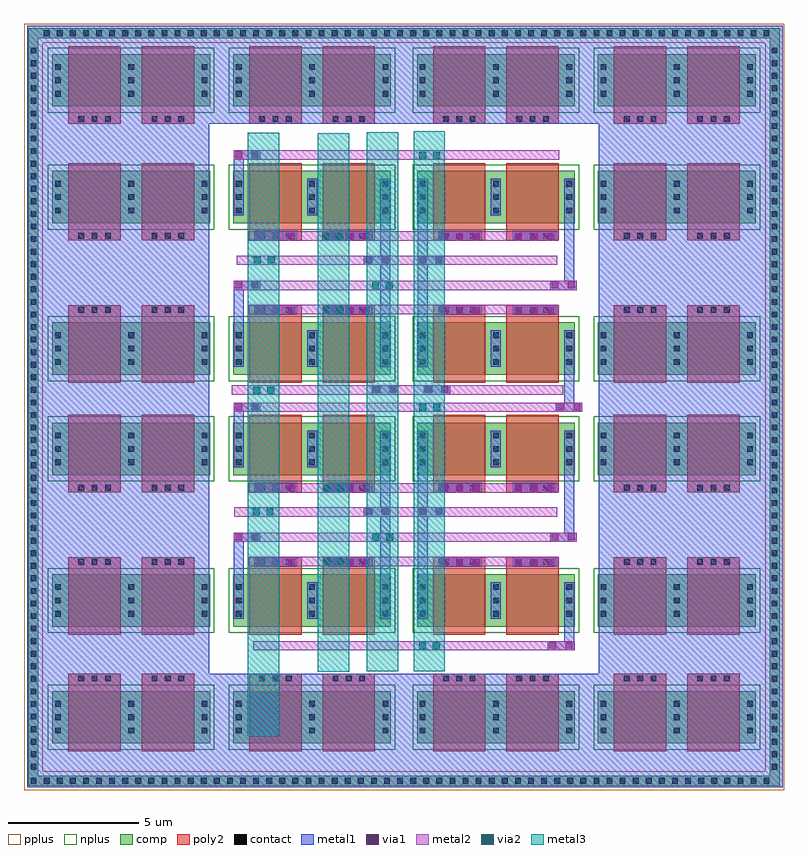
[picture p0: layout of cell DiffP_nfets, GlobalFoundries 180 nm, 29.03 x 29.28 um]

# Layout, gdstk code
import gdstk
lib = gdstk.Library(unit=1e-6, precision=1e-09)
def R(c, l, rs):  # rectangles x0, y0, x1, y1
    for r in rs: c.add(gdstk.rectangle(r[:2], r[2:], *l))
def A(c, l, x, y, w, h, nx, ny, dx, dy):  # array of equal rectangles
    R(c, l, [(x+i*dx, y+j*dy, x+i*dx+w, y+j*dy+h) for i in range(nx) for j in range(ny)])
comp = (22, 0)
poly2 = (30, 0)
pplus = (31, 0)
nplus = (32, 0)
contact = (33, 0)
metal1 = (34, 0)
via1 = (35, 0)
metal2 = (36, 0)
via2 = (38, 0)
metal3 = (42, 0)

nfet = lib.new_cell('nfet')
R(nfet, comp, [(-0.42,0,0,2), (0,0,2.38,2), (2.38,0,2.8,2)])
R(nfet, poly2, [(0.19,-0.3,2.19,2.3), (0.19,2.3,2.19,2.66)])
R(nfet, nplus, [(-0.59,-0.24,2.97,2.24)])
A(nfet, contact, -0.32, 0.38, 0.22, 0.22, 1, 3, 0, 0.51)
A(nfet, contact, 2.48, 0.38, 0.22, 0.22, 1, 3, 0, 0.51)
A(nfet, contact, 0.57, 2.37, 0.22, 0.22, 3, 1, 0.51, 0)
R(nfet, metal1, [(-0.4,0.3,-0.02,1.7), (2.4,0.3,2.78,1.7), (0.49,2.29,1.89,2.67)])

diffp_nfets = lib.new_cell('DiffP_nfets')
R(diffp_nfets, comp, [(-8.6,-2.305,20.09,-1.925), (-8.6,-1.925,-8.22,26.635), (19.71,-1.925,20.09,26.635), (-8.6,26.255,20.09,26.635)])
R(diffp_nfets, pplus, [(-8.77,-2.475,20.26,-1.755), (-8.77,-2.1,-8.05,26.805), (19.54,-2.1,20.26,26.805), (-8.77,26.085,20.26,26.805)])
A(diffp_nfets, contact, -8.515, -2.225, 0.22, 0.22, 57, 1, 0.5, 0)
A(diffp_nfets, contact, -8.52, -1.69, 0.22, 0.22, 1, 58, 0, 0.48)
A(diffp_nfets, contact, 19.79, -1.69, 0.22, 0.22, 1, 58, 0, 0.48)
A(diffp_nfets, contact, -8.015, 26.335, 0.22, 0.22, 56, 1, 0.5, 0)
R(diffp_nfets, contact, [(-8.52,25.67,-8.3,25.89)])
R(diffp_nfets, metal1, [(-8.64,-2.36,-1.685,26.725), (-2.08,-2.36,20.22,1.985), (13.175,-0.385,20.22,25.345), (11.235,2.87,12.245,3.225), (11.235,2.87,12.245,3.225), (11.235,2.87,12.245,3.225), (11.865,2.88,12.245,4.84), (4.845,5.35,5.225,8.045), (6.265,5.35,6.645,8.045), (-0.755,5.395,-0.375,7.35), (0.025,6.065,1.675,6.445), (2.875,6.065,4.525,6.445), (7.065,6.065,8.715,6.445), (9.905,6.065,11.555,6.445), (-0.755,7.01,0.255,7.365), (-0.755,7.01,0.255,7.365), (-0.755,7.01,0.255,7.365), (11.325,7.01,12.335,7.365), (11.325,7.01,12.335,7.365), (11.325,7.01,12.335,7.365), (11.865,7.01,12.245,10.65), (4.215,7.975,5.225,8.33), (4.215,7.975,5.225,8.33), (4.215,7.975,5.225,8.33), (4.215,7.975,5.225,8.33), (4.215,7.975,5.225,8.33), (4.215,7.975,5.225,8.33), (4.845,7.975,5.225,10.095), (6.265,7.975,6.645,10.095), (6.275,7.975,7.285,8.33), (6.275,7.975,7.285,8.33), (6.275,7.975,7.285,8.33), (6.275,7.975,7.285,8.33), (6.275,7.975,7.285,8.33), (6.275,7.975,7.285,8.33), (0.025,8.895,1.675,9.275), (2.875,8.895,4.525,9.275), (7.065,8.895,8.715,9.275), (9.905,8.895,11.555,9.275), (-0.755,11.26,-0.375,12.245), (-0.755,11.98,0.255,12.335), (-0.755,11.98,0.255,12.335), (-0.755,11.98,0.255,12.335), (11.545,11.98,12.555,12.335), (11.545,11.98,12.555,12.335), (11.545,11.98,12.555,12.335), (11.865,12.025,12.245,14.08), (4.515,12.64,5.525,12.995), (4.515,12.64,5.525,12.995), (4.515,12.64,5.525,12.995), (6.495,12.64,7.505,12.995), (6.495,12.64,7.505,12.995), (6.495,12.64,7.505,12.995), (4.845,14.97,5.225,17.665), (6.265,14.97,6.645,17.665), (-0.755,15.015,-0.375,16.97), (0.025,15.685,1.675,16.065), (2.875,15.685,4.525,16.065), (7.065,15.685,8.715,16.065), (9.905,15.685,11.555,16.065), (-0.755,16.63,0.255,16.985), (-0.755,16.63,0.255,16.985), (-0.755,16.63,0.255,16.985), (11.325,16.63,12.335,16.985), (11.325,16.63,12.335,16.985), (11.325,16.63,12.335,16.985), (11.865,16.63,12.245,20.27), (4.215,17.595,5.225,17.95), (4.215,17.595,5.225,17.95), (4.215,17.595,5.225,17.95), (4.215,17.595,5.225,17.95), (4.215,17.595,5.225,17.95), (4.215,17.595,5.225,17.95), (4.845,17.595,5.225,19.715), (6.265,17.595,6.645,19.715), (6.275,17.595,7.285,17.95), (6.275,17.595,7.285,17.95), (6.275,17.595,7.285,17.95), (6.275,17.595,7.285,17.95), (6.275,17.595,7.285,17.95), (6.275,17.595,7.285,17.95), (0.025,18.515,1.675,18.895), (2.875,18.515,4.525,18.895), (7.065,18.515,8.715,18.895), (9.905,18.515,11.555,18.895), (-0.755,20.845,-0.375,21.705), (-0.755,21.61,0.255,21.965), (-0.755,21.61,0.255,21.965), (-0.755,21.61,0.255,21.965), (-2.08,22.975,20.22,26.725)])
R(diffp_nfets, via1, [(11.295,2.935,11.555,3.195), (11.295,2.935,11.555,3.195), (11.915,2.935,12.175,3.195), (11.915,2.935,12.175,3.195), (0.095,6.115,0.355,6.375), (0.095,6.115,0.355,6.375), (0.095,6.115,0.355,6.375), (0.095,6.115,0.355,6.375), (0.095,6.115,0.355,6.375), (0.095,6.115,0.355,6.375), (0.095,6.115,0.355,6.375), (0.095,6.115,0.355,6.375), (0.715,6.115,0.975,6.375), (0.715,6.115,0.975,6.375), (0.715,6.115,0.975,6.375), (0.715,6.115,0.975,6.375), (0.715,6.115,0.975,6.375), (0.715,6.115,0.975,6.375), (0.715,6.115,0.975,6.375), (0.715,6.115,0.975,6.375), (1.335,6.115,1.595,6.375), (1.335,6.115,1.595,6.375), (1.335,6.115,1.595,6.375), (1.335,6.115,1.595,6.375), (1.335,6.115,1.595,6.375), (1.335,6.115,1.595,6.375), (1.335,6.115,1.595,6.375), (1.335,6.115,1.595,6.375), (2.945,6.115,3.205,6.375), (2.945,6.115,3.205,6.375), (2.945,6.115,3.205,6.375), (2.945,6.115,3.205,6.375), (2.945,6.115,3.205,6.375), (2.945,6.115,3.205,6.375), (2.945,6.115,3.205,6.375), (2.945,6.115,3.205,6.375), (3.565,6.115,3.825,6.375), (3.565,6.115,3.825,6.375), (3.565,6.115,3.825,6.375), (3.565,6.115,3.825,6.375), (3.565,6.115,3.825,6.375), (3.565,6.115,3.825,6.375), (3.565,6.115,3.825,6.375), (3.565,6.115,3.825,6.375), (4.185,6.115,4.445,6.375), (4.185,6.115,4.445,6.375), (4.185,6.115,4.445,6.375), (4.185,6.115,4.445,6.375), (4.185,6.115,4.445,6.375), (4.185,6.115,4.445,6.375), (4.185,6.115,4.445,6.375), (4.185,6.115,4.445,6.375), (7.135,6.115,7.395,6.375), (7.135,6.115,7.395,6.375), (7.135,6.115,7.395,6.375), (7.135,6.115,7.395,6.375), (7.135,6.115,7.395,6.375), (7.135,6.115,7.395,6.375), (7.135,6.115,7.395,6.375), (7.135,6.115,7.395,6.375), (7.755,6.115,8.015,6.375), (7.755,6.115,8.015,6.375), (7.755,6.115,8.015,6.375), (7.755,6.115,8.015,6.375), (7.755,6.115,8.015,6.375), (7.755,6.115,8.015,6.375), (7.755,6.115,8.015,6.375), (7.755,6.115,8.015,6.375), (8.375,6.115,8.635,6.375), (8.375,6.115,8.635,6.375), (8.375,6.115,8.635,6.375), (8.375,6.115,8.635,6.375), (8.375,6.115,8.635,6.375), (8.375,6.115,8.635,6.375), (8.375,6.115,8.635,6.375), (8.375,6.115,8.635,6.375), (9.975,6.115,10.235,6.375), (9.975,6.115,10.235,6.375), (9.975,6.115,10.235,6.375), (9.975,6.115,10.235,6.375), (9.975,6.115,10.235,6.375), (9.975,6.115,10.235,6.375), (9.975,6.115,10.235,6.375), (9.975,6.115,10.235,6.375), (10.595,6.115,10.855,6.375), (10.595,6.115,10.855,6.375), (10.595,6.115,10.855,6.375), (10.595,6.115,10.855,6.375), (10.595,6.115,10.855,6.375), (10.595,6.115,10.855,6.375), (10.595,6.115,10.855,6.375), (10.595,6.115,10.855,6.375), (11.215,6.115,11.475,6.375), (11.215,6.115,11.475,6.375), (11.215,6.115,11.475,6.375), (11.215,6.115,11.475,6.375), (11.215,6.115,11.475,6.375), (11.215,6.115,11.475,6.375), (11.215,6.115,11.475,6.375), (11.215,6.115,11.475,6.375), (-0.695,7.075,-0.435,7.335), (-0.695,7.075,-0.435,7.335), (-0.075,7.075,0.185,7.335), (-0.075,7.075,0.185,7.335), (11.385,7.075,11.645,7.335), (11.385,7.075,11.645,7.335), (12.005,7.075,12.265,7.335), (12.005,7.075,12.265,7.335), (4.275,8.04,4.535,8.3), (4.275,8.04,4.535,8.3), (4.275,8.04,4.535,8.3), (4.275,8.04,4.535,8.3), (4.895,8.04,5.155,8.3), (4.895,8.04,5.155,8.3), (4.895,8.04,5.155,8.3), (4.895,8.04,5.155,8.3), (6.335,8.04,6.595,8.3), (6.335,8.04,6.595,8.3), (6.335,8.04,6.595,8.3), (6.335,8.04,6.595,8.3), (6.955,8.04,7.215,8.3), (6.955,8.04,7.215,8.3), (6.955,8.04,7.215,8.3), (6.955,8.04,7.215,8.3), (0.095,8.945,0.355,9.205), (0.095,8.945,0.355,9.205), (0.095,8.945,0.355,9.205), (0.095,8.945,0.355,9.205), (0.095,8.945,0.355,9.205), (0.095,8.945,0.355,9.205), (0.095,8.945,0.355,9.205), (0.095,8.945,0.355,9.205), (0.715,8.945,0.975,9.205), (0.715,8.945,0.975,9.205), (0.715,8.945,0.975,9.205), (0.715,8.945,0.975,9.205), (0.715,8.945,0.975,9.205), (0.715,8.945,0.975,9.205), (0.715,8.945,0.975,9.205), (0.715,8.945,0.975,9.205), (1.335,8.945,1.595,9.205), (1.335,8.945,1.595,9.205), (1.335,8.945,1.595,9.205), (1.335,8.945,1.595,9.205), (1.335,8.945,1.595,9.205), (1.335,8.945,1.595,9.205), (1.335,8.945,1.595,9.205), (1.335,8.945,1.595,9.205), (2.945,8.945,3.205,9.205), (2.945,8.945,3.205,9.205), (2.945,8.945,3.205,9.205), (2.945,8.945,3.205,9.205), (2.945,8.945,3.205,9.205), (2.945,8.945,3.205,9.205), (2.945,8.945,3.205,9.205), (2.945,8.945,3.205,9.205), (3.565,8.945,3.825,9.205), (3.565,8.945,3.825,9.205), (3.565,8.945,3.825,9.205), (3.565,8.945,3.825,9.205), (3.565,8.945,3.825,9.205), (3.565,8.945,3.825,9.205), (3.565,8.945,3.825,9.205), (3.565,8.945,3.825,9.205), (4.185,8.945,4.445,9.205), (4.185,8.945,4.445,9.205), (4.185,8.945,4.445,9.205), (4.185,8.945,4.445,9.205), (4.185,8.945,4.445,9.205), (4.185,8.945,4.445,9.205), (4.185,8.945,4.445,9.205), (4.185,8.945,4.445,9.205), (7.135,8.945,7.395,9.205), (7.135,8.945,7.395,9.205), (7.135,8.945,7.395,9.205), (7.135,8.945,7.395,9.205), (7.135,8.945,7.395,9.205), (7.135,8.945,7.395,9.205), (7.135,8.945,7.395,9.205), (7.135,8.945,7.395,9.205), (7.755,8.945,8.015,9.205), (7.755,8.945,8.015,9.205), (7.755,8.945,8.015,9.205), (7.755,8.945,8.015,9.205), (7.755,8.945,8.015,9.205), (7.755,8.945,8.015,9.205), (7.755,8.945,8.015,9.205), (7.755,8.945,8.015,9.205), (8.375,8.945,8.635,9.205), (8.375,8.945,8.635,9.205), (8.375,8.945,8.635,9.205), (8.375,8.945,8.635,9.205), (8.375,8.945,8.635,9.205), (8.375,8.945,8.635,9.205), (8.375,8.945,8.635,9.205), (8.375,8.945,8.635,9.205), (9.975,8.945,10.235,9.205), (9.975,8.945,10.235,9.205), (9.975,8.945,10.235,9.205), (9.975,8.945,10.235,9.205), (9.975,8.945,10.235,9.205), (9.975,8.945,10.235,9.205), (9.975,8.945,10.235,9.205), (9.975,8.945,10.235,9.205), (10.595,8.945,10.855,9.205), (10.595,8.945,10.855,9.205), (10.595,8.945,10.855,9.205), (10.595,8.945,10.855,9.205), (10.595,8.945,10.855,9.205), (10.595,8.945,10.855,9.205), (10.595,8.945,10.855,9.205), (10.595,8.945,10.855,9.205), (11.215,8.945,11.475,9.205), (11.215,8.945,11.475,9.205), (11.215,8.945,11.475,9.205), (11.215,8.945,11.475,9.205), (11.215,8.945,11.475,9.205), (11.215,8.945,11.475,9.205), (11.215,8.945,11.475,9.205), (11.215,8.945,11.475,9.205), (-0.695,12.045,-0.435,12.305), (-0.695,12.045,-0.435,12.305), (-0.075,12.045,0.185,12.305), (-0.075,12.045,0.185,12.305), (11.605,12.045,11.865,12.305), (11.605,12.045,11.865,12.305), (12.225,12.045,12.485,12.305), (12.225,12.045,12.485,12.305), (4.575,12.705,4.835,12.965), (4.575,12.705,4.835,12.965), (5.195,12.705,5.455,12.965), (5.195,12.705,5.455,12.965), (6.555,12.705,6.815,12.965), (6.555,12.705,6.815,12.965), (7.175,12.705,7.435,12.965), (7.175,12.705,7.435,12.965), (0.095,15.735,0.355,15.995), (0.095,15.735,0.355,15.995), (0.095,15.735,0.355,15.995), (0.095,15.735,0.355,15.995), (0.095,15.735,0.355,15.995), (0.095,15.735,0.355,15.995), (0.095,15.735,0.355,15.995), (0.095,15.735,0.355,15.995), (0.715,15.735,0.975,15.995), (0.715,15.735,0.975,15.995), (0.715,15.735,0.975,15.995), (0.715,15.735,0.975,15.995), (0.715,15.735,0.975,15.995), (0.715,15.735,0.975,15.995), (0.715,15.735,0.975,15.995), (0.715,15.735,0.975,15.995), (1.335,15.735,1.595,15.995), (1.335,15.735,1.595,15.995), (1.335,15.735,1.595,15.995), (1.335,15.735,1.595,15.995), (1.335,15.735,1.595,15.995), (1.335,15.735,1.595,15.995), (1.335,15.735,1.595,15.995), (1.335,15.735,1.595,15.995), (2.945,15.735,3.205,15.995), (2.945,15.735,3.205,15.995), (2.945,15.735,3.205,15.995), (2.945,15.735,3.205,15.995), (2.945,15.735,3.205,15.995), (2.945,15.735,3.205,15.995), (2.945,15.735,3.205,15.995), (2.945,15.735,3.205,15.995), (3.565,15.735,3.825,15.995), (3.565,15.735,3.825,15.995), (3.565,15.735,3.825,15.995), (3.565,15.735,3.825,15.995), (3.565,15.735,3.825,15.995), (3.565,15.735,3.825,15.995), (3.565,15.735,3.825,15.995), (3.565,15.735,3.825,15.995), (4.185,15.735,4.445,15.995), (4.185,15.735,4.445,15.995), (4.185,15.735,4.445,15.995), (4.185,15.735,4.445,15.995), (4.185,15.735,4.445,15.995), (4.185,15.735,4.445,15.995), (4.185,15.735,4.445,15.995), (4.185,15.735,4.445,15.995), (7.135,15.735,7.395,15.995), (7.135,15.735,7.395,15.995), (7.135,15.735,7.395,15.995), (7.135,15.735,7.395,15.995), (7.135,15.735,7.395,15.995), (7.135,15.735,7.395,15.995), (7.135,15.735,7.395,15.995), (7.135,15.735,7.395,15.995), (7.755,15.735,8.015,15.995), (7.755,15.735,8.015,15.995), (7.755,15.735,8.015,15.995), (7.755,15.735,8.015,15.995), (7.755,15.735,8.015,15.995), (7.755,15.735,8.015,15.995), (7.755,15.735,8.015,15.995), (7.755,15.735,8.015,15.995), (8.375,15.735,8.635,15.995), (8.375,15.735,8.635,15.995), (8.375,15.735,8.635,15.995), (8.375,15.735,8.635,15.995), (8.375,15.735,8.635,15.995), (8.375,15.735,8.635,15.995), (8.375,15.735,8.635,15.995), (8.375,15.735,8.635,15.995), (9.975,15.735,10.235,15.995), (9.975,15.735,10.235,15.995), (9.975,15.735,10.235,15.995), (9.975,15.735,10.235,15.995), (9.975,15.735,10.235,15.995), (9.975,15.735,10.235,15.995), (9.975,15.735,10.235,15.995), (9.975,15.735,10.235,15.995), (10.595,15.735,10.855,15.995), (10.595,15.735,10.855,15.995), (10.595,15.735,10.855,15.995), (10.595,15.735,10.855,15.995), (10.595,15.735,10.855,15.995), (10.595,15.735,10.855,15.995), (10.595,15.735,10.855,15.995), (10.595,15.735,10.855,15.995), (11.215,15.735,11.475,15.995), (11.215,15.735,11.475,15.995), (11.215,15.735,11.475,15.995), (11.215,15.735,11.475,15.995), (11.215,15.735,11.475,15.995), (11.215,15.735,11.475,15.995), (11.215,15.735,11.475,15.995), (11.215,15.735,11.475,15.995), (-0.695,16.695,-0.435,16.955), (-0.695,16.695,-0.435,16.955), (-0.075,16.695,0.185,16.955), (-0.075,16.695,0.185,16.955), (11.385,16.695,11.645,16.955), (11.385,16.695,11.645,16.955), (12.005,16.695,12.265,16.955), (12.005,16.695,12.265,16.955), (4.275,17.66,4.535,17.92), (4.275,17.66,4.535,17.92), (4.275,17.66,4.535,17.92), (4.275,17.66,4.535,17.92), (4.895,17.66,5.155,17.92), (4.895,17.66,5.155,17.92), (4.895,17.66,5.155,17.92), (4.895,17.66,5.155,17.92), (6.335,17.66,6.595,17.92), (6.335,17.66,6.595,17.92), (6.335,17.66,6.595,17.92), (6.335,17.66,6.595,17.92), (6.955,17.66,7.215,17.92), (6.955,17.66,7.215,17.92), (6.955,17.66,7.215,17.92), (6.955,17.66,7.215,17.92), (0.095,18.565,0.355,18.825), (0.095,18.565,0.355,18.825), (0.095,18.565,0.355,18.825), (0.095,18.565,0.355,18.825), (0.095,18.565,0.355,18.825), (0.095,18.565,0.355,18.825), (0.095,18.565,0.355,18.825), (0.095,18.565,0.355,18.825), (0.715,18.565,0.975,18.825), (0.715,18.565,0.975,18.825), (0.715,18.565,0.975,18.825), (0.715,18.565,0.975,18.825), (0.715,18.565,0.975,18.825), (0.715,18.565,0.975,18.825), (0.715,18.565,0.975,18.825), (0.715,18.565,0.975,18.825), (1.335,18.565,1.595,18.825), (1.335,18.565,1.595,18.825), (1.335,18.565,1.595,18.825), (1.335,18.565,1.595,18.825), (1.335,18.565,1.595,18.825), (1.335,18.565,1.595,18.825), (1.335,18.565,1.595,18.825), (1.335,18.565,1.595,18.825), (2.945,18.565,3.205,18.825), (2.945,18.565,3.205,18.825), (2.945,18.565,3.205,18.825), (2.945,18.565,3.205,18.825), (2.945,18.565,3.205,18.825), (2.945,18.565,3.205,18.825), (2.945,18.565,3.205,18.825), (2.945,18.565,3.205,18.825), (3.565,18.565,3.825,18.825), (3.565,18.565,3.825,18.825), (3.565,18.565,3.825,18.825), (3.565,18.565,3.825,18.825), (3.565,18.565,3.825,18.825), (3.565,18.565,3.825,18.825), (3.565,18.565,3.825,18.825), (3.565,18.565,3.825,18.825), (4.185,18.565,4.445,18.825), (4.185,18.565,4.445,18.825), (4.185,18.565,4.445,18.825), (4.185,18.565,4.445,18.825), (4.185,18.565,4.445,18.825), (4.185,18.565,4.445,18.825), (4.185,18.565,4.445,18.825), (4.185,18.565,4.445,18.825), (7.135,18.565,7.395,18.825), (7.135,18.565,7.395,18.825), (7.135,18.565,7.395,18.825), (7.135,18.565,7.395,18.825), (7.135,18.565,7.395,18.825), (7.135,18.565,7.395,18.825), (7.135,18.565,7.395,18.825), (7.135,18.565,7.395,18.825), (7.755,18.565,8.015,18.825), (7.755,18.565,8.015,18.825), (7.755,18.565,8.015,18.825), (7.755,18.565,8.015,18.825), (7.755,18.565,8.015,18.825), (7.755,18.565,8.015,18.825), (7.755,18.565,8.015,18.825), (7.755,18.565,8.015,18.825), (8.375,18.565,8.635,18.825), (8.375,18.565,8.635,18.825), (8.375,18.565,8.635,18.825), (8.375,18.565,8.635,18.825), (8.375,18.565,8.635,18.825), (8.375,18.565,8.635,18.825), (8.375,18.565,8.635,18.825), (8.375,18.565,8.635,18.825), (9.975,18.565,10.235,18.825), (9.975,18.565,10.235,18.825), (9.975,18.565,10.235,18.825), (9.975,18.565,10.235,18.825), (9.975,18.565,10.235,18.825), (9.975,18.565,10.235,18.825), (9.975,18.565,10.235,18.825), (9.975,18.565,10.235,18.825), (10.595,18.565,10.855,18.825), (10.595,18.565,10.855,18.825), (10.595,18.565,10.855,18.825), (10.595,18.565,10.855,18.825), (10.595,18.565,10.855,18.825), (10.595,18.565,10.855,18.825), (10.595,18.565,10.855,18.825), (10.595,18.565,10.855,18.825), (11.215,18.565,11.475,18.825), (11.215,18.565,11.475,18.825), (11.215,18.565,11.475,18.825), (11.215,18.565,11.475,18.825), (11.215,18.565,11.475,18.825), (11.215,18.565,11.475,18.825), (11.215,18.565,11.475,18.825), (11.215,18.565,11.475,18.825), (-0.695,21.675,-0.435,21.935), (-0.695,21.675,-0.435,21.935), (-0.075,21.675,0.185,21.935), (-0.075,21.675,0.185,21.935)])
R(diffp_nfets, metal2, [(-0.015,2.87,12.275,3.225), (-0.185,6.09,11.635,6.445), (-0.765,7.01,12.34,7.365), (-0.73,7.975,11.6,8.33), (-0.185,8.895,11.635,9.25), (-0.755,11.98,12.555,12.335), (-0.835,12.64,11.82,12.995), (-0.185,15.71,11.635,16.065), (-0.765,16.63,12.34,16.985), (-0.65,17.595,11.6,17.95), (-0.185,18.515,11.635,18.87), (-0.755,21.61,11.68,21.965)])
R(diffp_nfets, via2, [(6.32,2.915,6.58,3.175), (6.32,2.915,6.58,3.175), (6.32,2.915,6.58,3.175), (6.32,2.915,6.58,3.175), (6.32,2.915,6.58,3.175), (6.32,2.915,6.58,3.175), (6.32,2.915,6.58,3.175), (6.32,2.915,6.58,3.175), (6.85,2.915,7.11,3.175), (6.85,2.915,7.11,3.175), (6.85,2.915,7.11,3.175), (6.85,2.915,7.11,3.175), (6.85,2.915,7.11,3.175), (6.85,2.915,7.11,3.175), (6.85,2.915,7.11,3.175), (6.85,2.915,7.11,3.175), (2.675,6.135,2.935,6.395), (2.675,6.135,2.935,6.395), (2.675,6.135,2.935,6.395), (2.675,6.135,2.935,6.395), (2.675,6.135,2.935,6.395), (2.675,6.135,2.935,6.395), (2.675,6.135,2.935,6.395), (2.675,6.135,2.935,6.395), (3.205,6.135,3.465,6.395), (3.205,6.135,3.465,6.395), (3.205,6.135,3.465,6.395), (3.205,6.135,3.465,6.395), (3.205,6.135,3.465,6.395), (3.205,6.135,3.465,6.395), (3.205,6.135,3.465,6.395), (3.205,6.135,3.465,6.395), (4.535,7.055,4.795,7.315), (4.535,7.055,4.795,7.315), (4.535,7.055,4.795,7.315), (4.535,7.055,4.795,7.315), (4.535,7.055,4.795,7.315), (4.535,7.055,4.795,7.315), (4.535,7.055,4.795,7.315), (4.535,7.055,4.795,7.315), (5.065,7.055,5.325,7.315), (5.065,7.055,5.325,7.315), (5.065,7.055,5.325,7.315), (5.065,7.055,5.325,7.315), (5.065,7.055,5.325,7.315), (5.065,7.055,5.325,7.315), (5.065,7.055,5.325,7.315), (5.065,7.055,5.325,7.315), (-0.03,8.03,0.23,8.29), (-0.03,8.03,0.23,8.29), (-0.03,8.03,0.23,8.29), (-0.03,8.03,0.23,8.29), (-0.03,8.03,0.23,8.29), (-0.03,8.03,0.23,8.29), (-0.03,8.03,0.23,8.29), (-0.03,8.03,0.23,8.29), (0.5,8.03,0.76,8.29), (0.5,8.03,0.76,8.29), (0.5,8.03,0.76,8.29), (0.5,8.03,0.76,8.29), (0.5,8.03,0.76,8.29), (0.5,8.03,0.76,8.29), (0.5,8.03,0.76,8.29), (0.5,8.03,0.76,8.29), (2.665,8.94,2.925,9.2), (2.665,8.94,2.925,9.2), (2.665,8.94,2.925,9.2), (2.665,8.94,2.925,9.2), (2.665,8.94,2.925,9.2), (2.665,8.94,2.925,9.2), (2.665,8.94,2.925,9.2), (2.665,8.94,2.925,9.2), (3.195,8.94,3.455,9.2), (3.195,8.94,3.455,9.2), (3.195,8.94,3.455,9.2), (3.195,8.94,3.455,9.2), (3.195,8.94,3.455,9.2), (3.195,8.94,3.455,9.2), (3.195,8.94,3.455,9.2), (3.195,8.94,3.455,9.2), (6.335,12.02,6.595,12.28), (6.335,12.02,6.595,12.28), (6.335,12.02,6.595,12.28), (6.335,12.02,6.595,12.28), (6.335,12.02,6.595,12.28), (6.335,12.02,6.595,12.28), (6.335,12.02,6.595,12.28), (6.335,12.02,6.595,12.28), (6.865,12.02,7.125,12.28), (6.865,12.02,7.125,12.28), (6.865,12.02,7.125,12.28), (6.865,12.02,7.125,12.28), (6.865,12.02,7.125,12.28), (6.865,12.02,7.125,12.28), (6.865,12.02,7.125,12.28), (6.865,12.02,7.125,12.28), (-0.01,12.675,0.25,12.935), (-0.01,12.675,0.25,12.935), (-0.01,12.675,0.25,12.935), (-0.01,12.675,0.25,12.935), (-0.01,12.675,0.25,12.935), (-0.01,12.675,0.25,12.935), (-0.01,12.675,0.25,12.935), (-0.01,12.675,0.25,12.935), (0.52,12.675,0.78,12.935), (0.52,12.675,0.78,12.935), (0.52,12.675,0.78,12.935), (0.52,12.675,0.78,12.935), (0.52,12.675,0.78,12.935), (0.52,12.675,0.78,12.935), (0.52,12.675,0.78,12.935), (0.52,12.675,0.78,12.935), (2.635,15.755,2.895,16.015), (2.635,15.755,2.895,16.015), (2.635,15.755,2.895,16.015), (2.635,15.755,2.895,16.015), (2.635,15.755,2.895,16.015), (2.635,15.755,2.895,16.015), (2.635,15.755,2.895,16.015), (2.635,15.755,2.895,16.015), (3.165,15.755,3.425,16.015), (3.165,15.755,3.425,16.015), (3.165,15.755,3.425,16.015), (3.165,15.755,3.425,16.015), (3.165,15.755,3.425,16.015), (3.165,15.755,3.425,16.015), (3.165,15.755,3.425,16.015), (3.165,15.755,3.425,16.015), (4.525,16.675,4.785,16.935), (4.525,16.675,4.785,16.935), (4.525,16.675,4.785,16.935), (4.525,16.675,4.785,16.935), (4.525,16.675,4.785,16.935), (4.525,16.675,4.785,16.935), (4.525,16.675,4.785,16.935), (4.525,16.675,4.785,16.935), (5.055,16.675,5.315,16.935), (5.055,16.675,5.315,16.935), (5.055,16.675,5.315,16.935), (5.055,16.675,5.315,16.935), (5.055,16.675,5.315,16.935), (5.055,16.675,5.315,16.935), (5.055,16.675,5.315,16.935), (5.055,16.675,5.315,16.935), (0.015,17.65,0.275,17.91), (0.015,17.65,0.275,17.91), (0.015,17.65,0.275,17.91), (0.015,17.65,0.275,17.91), (0.015,17.65,0.275,17.91), (0.015,17.65,0.275,17.91), (0.015,17.65,0.275,17.91), (0.015,17.65,0.275,17.91), (0.545,17.65,0.805,17.91), (0.545,17.65,0.805,17.91), (0.545,17.65,0.805,17.91), (0.545,17.65,0.805,17.91), (0.545,17.65,0.805,17.91), (0.545,17.65,0.805,17.91), (0.545,17.65,0.805,17.91), (0.545,17.65,0.805,17.91), (2.615,18.56,2.875,18.82), (2.615,18.56,2.875,18.82), (2.615,18.56,2.875,18.82), (2.615,18.56,2.875,18.82), (2.615,18.56,2.875,18.82), (2.615,18.56,2.875,18.82), (2.615,18.56,2.875,18.82), (2.615,18.56,2.875,18.82), (3.145,18.56,3.405,18.82), (3.145,18.56,3.405,18.82), (3.145,18.56,3.405,18.82), (3.145,18.56,3.405,18.82), (3.145,18.56,3.405,18.82), (3.145,18.56,3.405,18.82), (3.145,18.56,3.405,18.82), (3.145,18.56,3.405,18.82), (6.33,21.655,6.59,21.915), (6.33,21.655,6.59,21.915), (6.33,21.655,6.59,21.915), (6.33,21.655,6.59,21.915), (6.33,21.655,6.59,21.915), (6.33,21.655,6.59,21.915), (6.33,21.655,6.59,21.915), (6.33,21.655,6.59,21.915), (6.86,21.655,7.12,21.915), (6.86,21.655,7.12,21.915), (6.86,21.655,7.12,21.915), (6.86,21.655,7.12,21.915), (6.86,21.655,7.12,21.915), (6.86,21.655,7.12,21.915), (6.86,21.655,7.12,21.915), (6.86,21.655,7.12,21.915)])
R(diffp_nfets, metal3, [(-0.215,-0.405,0.985,22.635), (2.445,2.06,3.645,22.62), (4.325,2.08,5.525,22.655), (6.11,2.08,7.31,22.69)])
diffp_nfets.add(gdstk.Reference(nfet, (-0.355,3.775)))
diffp_nfets.add(gdstk.Reference(nfet, (2.445,3.775)))
diffp_nfets.add(gdstk.Reference(nfet, (6.665,3.775)))
diffp_nfets.add(gdstk.Reference(nfet, (9.465,3.775)))
diffp_nfets.add(gdstk.Reference(nfet, (-0.355,11.565), x_reflection=True))
diffp_nfets.add(gdstk.Reference(nfet, (2.445,11.565), x_reflection=True))
diffp_nfets.add(gdstk.Reference(nfet, (6.665,11.565), x_reflection=True))
diffp_nfets.add(gdstk.Reference(nfet, (9.465,11.565), x_reflection=True))
diffp_nfets.add(gdstk.Reference(nfet, (9.465,13.395)))
diffp_nfets.add(gdstk.Reference(nfet, (6.665,13.395)))
diffp_nfets.add(gdstk.Reference(nfet, (2.445,13.395)))
diffp_nfets.add(gdstk.Reference(nfet, (-0.355,13.395)))
diffp_nfets.add(gdstk.Reference(nfet, (-7.265,3.775)))
diffp_nfets.add(gdstk.Reference(nfet, (-4.465,3.775)))
diffp_nfets.add(gdstk.Reference(nfet, (-0.355,25.645), x_reflection=True))
diffp_nfets.add(gdstk.Reference(nfet, (2.445,25.645), x_reflection=True))
diffp_nfets.add(gdstk.Reference(nfet, (6.665,25.645), x_reflection=True))
diffp_nfets.add(gdstk.Reference(nfet, (9.465,25.645), x_reflection=True))
diffp_nfets.add(gdstk.Reference(nfet, (-7.265,25.645), x_reflection=True))
diffp_nfets.add(gdstk.Reference(nfet, (-4.465,25.645), x_reflection=True))
diffp_nfets.add(gdstk.Reference(nfet, (13.575,25.645), x_reflection=True))
diffp_nfets.add(gdstk.Reference(nfet, (16.375,25.645), x_reflection=True))
diffp_nfets.add(gdstk.Reference(nfet, (-4.465,-0.685)))
diffp_nfets.add(gdstk.Reference(nfet, (-7.265,-0.685)))
diffp_nfets.add(gdstk.Reference(nfet, (16.375,-0.685)))
diffp_nfets.add(gdstk.Reference(nfet, (13.575,-0.685)))
diffp_nfets.add(gdstk.Reference(nfet, (2.445,-0.685)))
diffp_nfets.add(gdstk.Reference(nfet, (-0.355,-0.685)))
diffp_nfets.add(gdstk.Reference(nfet, (9.465,-0.685)))
diffp_nfets.add(gdstk.Reference(nfet, (6.665,-0.685)))
diffp_nfets.add(gdstk.Reference(nfet, (-0.355,21.185), x_reflection=True))
diffp_nfets.add(gdstk.Reference(nfet, (2.445,21.185), x_reflection=True))
diffp_nfets.add(gdstk.Reference(nfet, (6.665,21.185), x_reflection=True))
diffp_nfets.add(gdstk.Reference(nfet, (9.465,21.185), x_reflection=True))
diffp_nfets.add(gdstk.Reference(nfet, (-7.265,11.565), x_reflection=True))
diffp_nfets.add(gdstk.Reference(nfet, (-4.465,11.565), x_reflection=True))
diffp_nfets.add(gdstk.Reference(nfet, (-4.465,13.395)))
diffp_nfets.add(gdstk.Reference(nfet, (-7.265,13.395)))
diffp_nfets.add(gdstk.Reference(nfet, (-7.265,21.185), x_reflection=True))
diffp_nfets.add(gdstk.Reference(nfet, (-4.465,21.185), x_reflection=True))
diffp_nfets.add(gdstk.Reference(nfet, (13.575,3.775)))
diffp_nfets.add(gdstk.Reference(nfet, (16.375,3.775)))
diffp_nfets.add(gdstk.Reference(nfet, (13.575,11.565), x_reflection=True))
diffp_nfets.add(gdstk.Reference(nfet, (16.375,11.565), x_reflection=True))
diffp_nfets.add(gdstk.Reference(nfet, (16.375,13.395)))
diffp_nfets.add(gdstk.Reference(nfet, (13.575,13.395)))
diffp_nfets.add(gdstk.Reference(nfet, (13.575,21.185), x_reflection=True))
diffp_nfets.add(gdstk.Reference(nfet, (16.375,21.185), x_reflection=True))

lib.write_gds('DiffP_nfets.gds')
